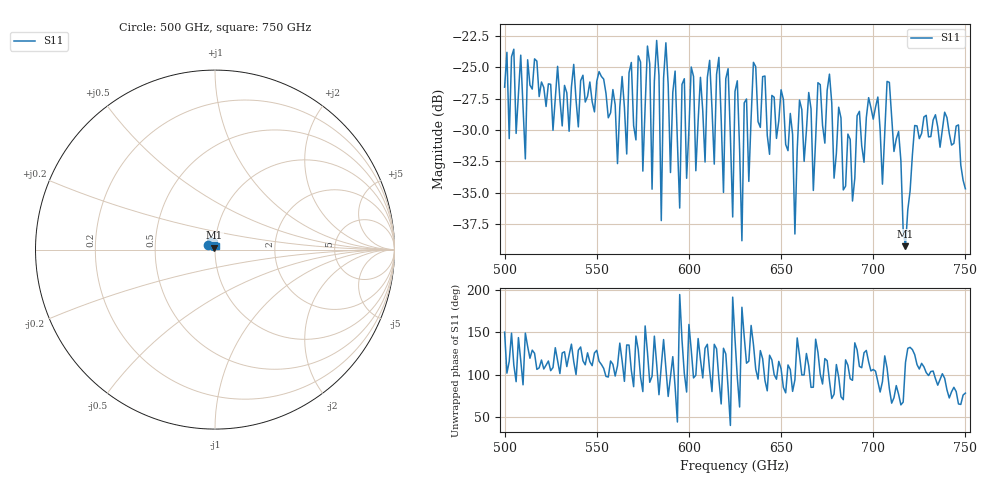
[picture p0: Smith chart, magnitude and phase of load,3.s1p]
!Created with mwavepy.
# GHz S RI R 50.0
!freq	ReS11	ImS11
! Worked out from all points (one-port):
!   201 points, 500 GHz to 750 GHz, reference 50 ohm
!   lowest |S11| = -39.3 dB at 717.5 GHz (marker M1), VSWR 1.02, Z = 49.5 + j0.981 ohm
!   |S11| at or under -10 dB: start of sweep to end of sweep
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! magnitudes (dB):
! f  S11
! 500 GHz  -26.6
! 531.2 GHz  -29.7
! 562.5 GHz  -28.2
! 577.5 GHz  -23.3
! 580 GHz  -34.7
! 582.5 GHz  -22.9
! 585 GHz  -37.2
! 587.5 GHz  -23.0
! 593.8 GHz  -30.9
! 611.2 GHz  -24.4
! 613.8 GHz  -32.7
! 616.2 GHz  -24.2
! 618.8 GHz  -35.0
! 621.2 GHz  -25.1
! 623.8 GHz  -36.9
! 625 GHz  -26.9
! 628.8 GHz  -38.8
! 630 GHz  -27.8
! 632.5 GHz  -34.1
! 635 GHz  -24.6
! 656.2 GHz  -30.3
! 657.5 GHz  -38.3
! 660 GHz  -27.6
! 687.5 GHz  -30.8
! 708.8 GHz  -26.2
! 717.5 GHz  -39.3
! 718.8 GHz  -36.4
! 750 GHz  -34.7
